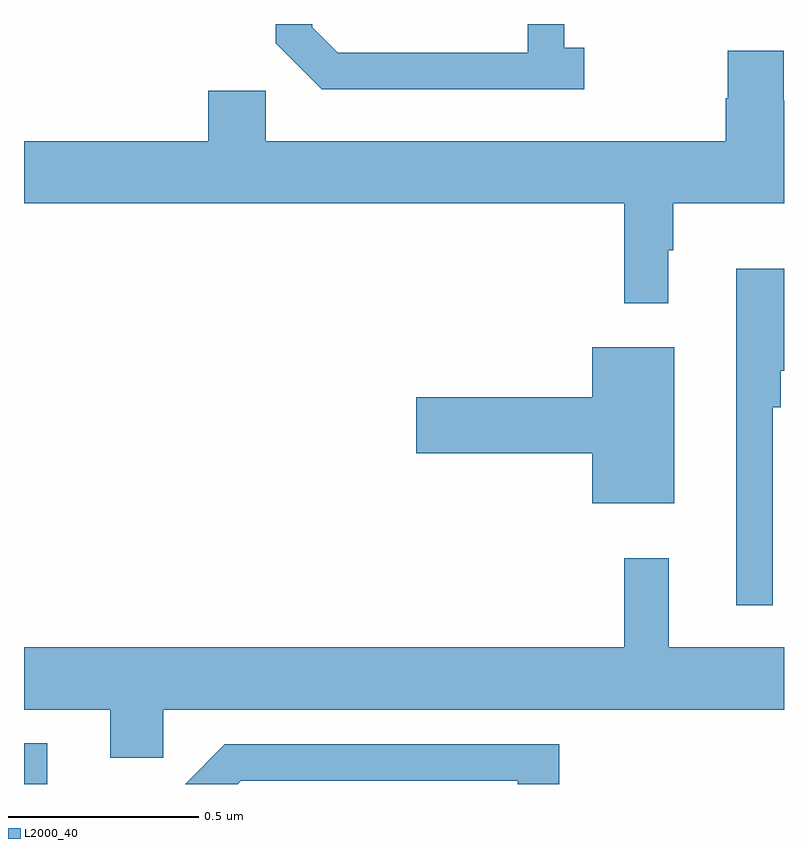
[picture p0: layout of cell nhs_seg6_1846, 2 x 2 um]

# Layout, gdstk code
import gdstk
lib = gdstk.Library(unit=1e-6, precision=1e-09)
def R(c, l, rs):  # rectangles x0, y0, x1, y1
    for r in rs: c.add(gdstk.rectangle(r[:2], r[2:], *l))
def P(c, l, *ps):  # polygons
    for p in ps: c.add(gdstk.Polygon(p, *l))
L2000_40 = (2000, 40)

nhs_seg6_1846 = lib.new_cell('nhs_seg6_1846')
R(nhs_seg6_1846, L2000_40, [(135,920.5,135.061,920.607)])
P(nhs_seg6_1846, L2000_40, [(136.474,922.438),(136.422,922.438),(136.422,922.5),(136.325,922.5),(136.325,922.425),(135.825,922.425),(135.759,922.491),(135.759,922.5),(135.663,922.5),(135.663,922.449),(135.784,922.328),(136.474,922.328)],
  [(136.696,921.905),(136.708,921.905),(136.708,922.028),(137,922.028),(137,922.298),(136.999,922.298),(136.999,922.43),(136.852,922.43),(136.852,922.305),(136.847,922.305),(136.847,922.192),(135.636,922.192),(135.636,922.324),(135.485,922.324),(135.485,922.192),(135,922.192),(135,922.028),(136.579,922.028),(136.579,921.765),(136.696,921.765)],
  [(136.971,921.491),(136.991,921.491),(136.991,921.587),(137,921.587),(137,921.856),(136.874,921.856),(136.874,920.97),(136.971,920.97)],
  [(136.711,921.649),(136.496,921.649),(136.496,921.518),(136.032,921.518),(136.032,921.371),(136.496,921.371),(136.496,921.239),(136.711,921.239)],
  [(135.366,920.696),(137,920.696),(137,920.86),(136.697,920.86),(136.697,921.094),(136.579,921.094),(136.579,920.86),(135,920.86),(135,920.696),(135.227,920.696),(135.227,920.569),(135.366,920.569)],
  [(135.57,920.508),(136.299,920.508),(136.299,920.5),(136.408,920.5),(136.408,920.604),(135.528,920.604),(135.424,920.5),(135.562,920.5)])

lib.write_gds('nhs_seg6_1846.gds')
